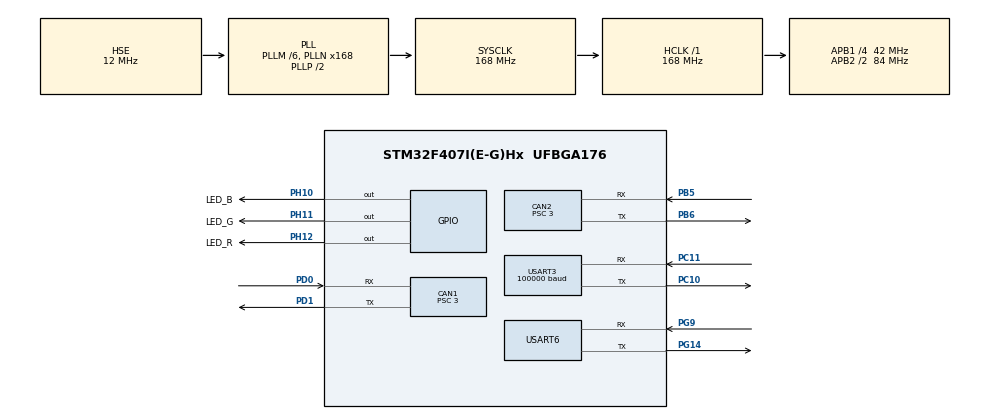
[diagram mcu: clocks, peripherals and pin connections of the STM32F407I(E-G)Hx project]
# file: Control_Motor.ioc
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CAN1.BS1=CAN_BS1_10TQ
CAN1.BS2=CAN_BS2_3TQ
CAN1.CalculateBaudRate=1000000
CAN1.CalculateTimeBit=1000
CAN1.CalculateTimeQuantum=71.42857142857143
CAN1.Prescaler=3
CAN2.BS1=CAN_BS1_10TQ
CAN2.BS2=CAN_BS2_3TQ
CAN2.CalculateBaudRate=1000000
CAN2.CalculateTimeBit=1000
CAN2.CalculateTimeQuantum=71.42857142857143
CAN2.Prescaler=3
Dma.Request0=USART3_RX
Dma.Request1=USART6_TX
Dma.USART3_RX.0.Direction=DMA_PERIPH_TO_MEMORY
Dma.USART3_RX.0.FIFOMode=DMA_FIFOMODE_DISABLE
Dma.USART3_RX.0.Instance=DMA1_Stream1
Dma.USART3_RX.0.MemDataAlignment=DMA_MDATAALIGN_BYTE
Dma.USART3_RX.0.MemInc=DMA_MINC_ENABLE
Dma.USART3_RX.0.Mode=DMA_CIRCULAR
Dma.USART3_RX.0.PeriphDataAlignment=DMA_PDATAALIGN_BYTE
Dma.USART3_RX.0.PeriphInc=DMA_PINC_DISABLE
Dma.USART3_RX.0.Priority=DMA_PRIORITY_VERY_HIGH
Dma.USART6_TX.1.Direction=DMA_MEMORY_TO_PERIPH
Dma.USART6_TX.1.FIFOMode=DMA_FIFOMODE_DISABLE
Dma.USART6_TX.1.Instance=DMA2_Stream6
Dma.USART6_TX.1.MemDataAlignment=DMA_MDATAALIGN_BYTE
Dma.USART6_TX.1.MemInc=DMA_MINC_ENABLE
Dma.USART6_TX.1.Mode=DMA_NORMAL
Dma.USART6_TX.1.PeriphDataAlignment=DMA_PDATAALIGN_BYTE
Dma.USART6_TX.1.PeriphInc=DMA_PINC_DISABLE
Dma.USART6_TX.1.Priority=DMA_PRIORITY_VERY_HIGH
FREERTOS.Tasks01=PID,0,128,pid_task,Default,NULL,Dynamic,NULL,NULL;yPlot,-3,128,yplot_task,Default,NULL,Dynamic,NULL,NULL
Mcu.Family=STM32F4
Mcu.Name=STM32F407I(E-G)Hx
Mcu.Package=UFBGA176
NVIC.CAN1_RX0_IRQn=true\:5\:0\:false\:false\:true\:true\:true\:true\:true
NVIC.CAN2_RX0_IRQn=true\:5\:0\:false\:false\:true\:true\:true\:true\:true
NVIC.DMA1_Stream1_IRQn=true\:5\:0\:false\:false\:true\:true\:false\:true\:true
NVIC.DMA2_Stream6_IRQn=true\:5\:0\:false\:false\:true\:true\:false\:true\:true
NVIC.PriorityGroup=NVIC_PRIORITYGROUP_4
NVIC.TIM1_UP_TIM10_IRQn=true\:15\:0\:false\:false\:true\:false\:false\:true\:true
NVIC.TimeBase=TIM1_UP_TIM10_IRQn
NVIC.TimeBaseIP=TIM1
NVIC.USART3_IRQn=true\:5\:0\:false\:false\:true\:true\:true\:true\:true
NVIC.USART6_IRQn=true\:5\:0\:false\:false\:true\:true\:true\:true\:true
PA13.Mode=Serial_Wire
PA13.Signal=SYS_JTMS-SWDIO
PA14.Mode=Serial_Wire
PA14.Signal=SYS_JTCK-SWCLK
PB5.Mode=CAN_Activate
PB5.Signal=CAN2_RX
PB6.Mode=CAN_Activate
PB6.Signal=CAN2_TX
PC10.GPIO_PuPd=GPIO_PULLUP
PC10.Mode=Asynchronous
PC10.Signal=USART3_TX
PC11.GPIO_PuPd=GPIO_PULLUP
PC11.Mode=Asynchronous
PC11.Signal=USART3_RX
PD0.Mode=CAN_Activate
PD0.Signal=CAN1_RX
PD1.Mode=CAN_Activate
PD1.Signal=CAN1_TX
PG14.GPIO_PuPd=GPIO_PULLUP
PG14.Mode=Asynchronous
PG14.Signal=USART6_TX
PG9.GPIO_PuPd=GPIO_PULLUP
PG9.Mode=Asynchronous
PG9.Signal=USART6_RX
PH0-OSC_IN.Mode=HSE-External-Oscillator
PH0-OSC_IN.Signal=RCC_OSC_IN
PH1-OSC_OUT.Mode=HSE-External-Oscillator
PH1-OSC_OUT.Signal=RCC_OSC_OUT
PH10.GPIO_Label=LED_B
PH10.GPIO_PuPd=GPIO_PULLUP
PH10.PinState=GPIO_PIN_SET
PH10.Signal=GPIO_Output
PH11.GPIO_Label=LED_G
PH11.GPIO_PuPd=GPIO_PULLUP
PH11.PinState=GPIO_PIN_SET
PH11.Signal=GPIO_Output
PH12.GPIO_Label=LED_R
PH12.GPIO_PuPd=GPIO_PULLUP
PH12.PinState=GPIO_PIN_SET
PH12.Signal=GPIO_Output
ProjectManager.HeapSize=0x200
ProjectManager.StackSize=0x400
ProjectManager.TargetToolchain=MDK-ARM V5.32
RCC.48MHZClocksFreq_Value=84000000
RCC.AHBFreq_Value=168000000
RCC.APB1CLKDivider=RCC_HCLK_DIV4
RCC.APB1Freq_Value=42000000
RCC.APB1TimFreq_Value=84000000
RCC.APB2CLKDivider=RCC_HCLK_DIV2
RCC.APB2Freq_Value=84000000
RCC.APB2TimFreq_Value=168000000
RCC.CortexFreq_Value=168000000
RCC.HCLKFreq_Value=168000000
RCC.HSE_VALUE=12000000
RCC.HSI_VALUE=16000000
RCC.LSE_VALUE=32768
RCC.PLLM=6
RCC.PLLN=168
RCC.PLLSourceVirtual=RCC_PLLSOURCE_HSE
RCC.SYSCLKFreq_VALUE=168000000
RCC.SYSCLKSource=RCC_SYSCLKSOURCE_PLLCLK
RCC.VCOOutputFreq_Value=336000000
USART3.BaudRate=100000
USART3.Parity=PARITY_EVEN
USART3.VirtualMode=VM_ASYNC
USART6.VirtualMode=VM_ASYNC
VP_FREERTOS_VS_CMSIS_V1.Mode=CMSIS_V1
VP_SYS_VS_tim1.Mode=TIM1
board=custom

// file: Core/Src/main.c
/* USER CODE BEGIN Header */
/**
  ******************************************************************************
  * @file           : main.c
  * @brief          : Main program body
  ******************************************************************************
  * @attention
  *
  * Copyright (c) 2024 STMicroelectronics.
  * All rights reserved.
  *
  * This software is licensed under terms that can be found in the LICENSE file
  * in the root directory of this software component.
  * If no LICENSE file comes with this software, it is provided AS-IS.
  *
  ******************************************************************************
  */
/* USER CODE END Header */
#include "main.h"
#include "cmsis_os.h"
#include "can.h"
#include "dma.h"
#include "usart.h"
#include "gpio.h"

/* USER CODE BEGIN Includes */
#include "bsp_can.h"
#include "CAN_receive.h"
#include "remote_control.h"
#include "bsp_usart.h"
#include "string.h"
#include <stdio.h>
#include <stdarg.h>
#include "pid.h"
/* USER CODE END Includes */

/* USER CODE BEGIN PV */
extern char usart_readbuff[30];//串口接收缓存数组
extern u8 usart_readok;//一帧数据处理标志

/* USER CODE END PV */

void SystemClock_Config(void);
void MX_FREERTOS_Init(void);

/* USER CODE BEGIN 0 */

const RC_ctrl_t *local_rc_ctrl;

void usart_printf(const char *fmt,...)
{
    static uint8_t tx_buf[256] = {0};
    static va_list ap;
    static uint16_t len;
    va_start(ap, fmt);

    //return length of string

    len = vsprintf((char *)tx_buf, fmt, ap);

    va_end(ap);

//    usart6_tx_dma_enable(tx_buf, len);
	HAL_UART_Transmit_DMA(&huart6, tx_buf, len);
}

/* USER CODE END 0 */

int main(void)
{

  /* MCU Configuration--------------------------------------------------------*/

  /* Reset of all peripherals, Initializes the Flash interface and the Systick. */
  HAL_Init();

  /* Configure the system clock */
  SystemClock_Config();

  /* Initialize all configured peripherals */
  MX_GPIO_Init();
  MX_DMA_Init();
  MX_CAN1_Init();
  MX_CAN2_Init();
  MX_USART3_UART_Init();
  MX_USART6_UART_Init();
  /* USER CODE BEGIN 2 */
    can_filter_init();
    remote_control_init();
    usart6_tx_dma_init();
    local_rc_ctrl = get_remote_control_point();

    __HAL_UART_ENABLE_IT(&huart3, UART_IT_RXNE);  //receive interrupt
    __HAL_UART_ENABLE_IT(&huart3, UART_IT_IDLE);  //idle interrupt
    __HAL_UART_ENABLE_IT(&huart6, UART_IT_RXNE);  //receive interrupt
    __HAL_UART_ENABLE_IT(&huart6, UART_IT_IDLE);  //idle interrupt

  /* USER CODE END 2 */

  /* Call init function for freertos objects (in cmsis_os2.c) */
  MX_FREERTOS_Init();

  /* Start scheduler */
  osKernelStart();

  /* We should never get here as control is now taken by the scheduler */

  /* Infinite loop */
  while (1)
  {

  }
}

void SystemClock_Config(void)
{
  RCC_OscInitTypeDef RCC_OscInitStruct = {0};
  RCC_ClkInitTypeDef RCC_ClkInitStruct = {0};

  /** Configure the main internal regulator output voltage
  */
  __HAL_RCC_PWR_CLK_ENABLE();
  __HAL_PWR_VOLTAGESCALING_CONFIG(PWR_REGULATOR_VOLTAGE_SCALE1);

  /** Initializes the RCC Oscillators according to the specified parameters
  * in the RCC_OscInitTypeDef structure.
  */
  RCC_OscInitStruct.OscillatorType = RCC_OSCILLATORTYPE_HSE;
  RCC_OscInitStruct.HSEState = RCC_HSE_ON;
  RCC_OscInitStruct.PLL.PLLState = RCC_PLL_ON;
  RCC_OscInitStruct.PLL.PLLSource = RCC_PLLSOURCE_HSE;
  RCC_OscInitStruct.PLL.PLLM = 6;
  RCC_OscInitStruct.PLL.PLLN = 168;
  RCC_OscInitStruct.PLL.PLLP = RCC_PLLP_DIV2;
  RCC_OscInitStruct.PLL.PLLQ = 4;
  if (HAL_RCC_OscConfig(&RCC_OscInitStruct) != HAL_OK)
  {
    Error_Handler();
  }

  /** Initializes the CPU, AHB and APB buses clocks
  */
  RCC_ClkInitStruct.ClockType = RCC_CLOCKTYPE_HCLK|RCC_CLOCKTYPE_SYSCLK
                              |RCC_CLOCKTYPE_PCLK1|RCC_CLOCKTYPE_PCLK2;
  RCC_ClkInitStruct.SYSCLKSource = RCC_SYSCLKSOURCE_PLLCLK;
  RCC_ClkInitStruct.AHBCLKDivider = RCC_SYSCLK_DIV1;
  RCC_ClkInitStruct.APB1CLKDivider = RCC_HCLK_DIV4;
  RCC_ClkInitStruct.APB2CLKDivider = RCC_HCLK_DIV2;

  if (HAL_RCC_ClockConfig(&RCC_ClkInitStruct, FLASH_LATENCY_5) != HAL_OK)
  {
    Error_Handler();
  }
}

void HAL_TIM_PeriodElapsedCallback(TIM_HandleTypeDef *htim)
{
  if (htim->Instance == TIM1) {
    HAL_IncTick();
  }
}

void Error_Handler(void)
{
  __disable_irq();
  while (1)
  {
  }
}

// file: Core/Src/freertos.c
/* USER CODE BEGIN Header */
/**
  ******************************************************************************
  * File Name          : freertos.c
  * Description        : Code for freertos applications
  ******************************************************************************
  * @attention
  *
  * Copyright (c) 2024 STMicroelectronics.
  * All rights reserved.
  *
  * This software is licensed under terms that can be found in the LICENSE file
  * in the root directory of this software component.
  * If no LICENSE file comes with this software, it is provided AS-IS.
  *
  ******************************************************************************
  */
/* USER CODE END Header */

#include "FreeRTOS.h"
#include "task.h"
#include "main.h"
#include "cmsis_os.h"

/* USER CODE BEGIN Includes */
#include "bsp_can.h"
#include "CAN_receive.h"
#include "remote_control.h"
#include "bsp_usart.h"
#include "string.h"
#include <stdio.h>
#include <stdarg.h>
#include "pid.h"
#include "oscilloscope.h"

/* USER CODE END Includes */

/* USER CODE BEGIN PD */
PID vec;
PID pos;
int ecd_vec = 0;
int ecd_pos = 0;
int target_vec = 200;
float target_pos = 0;//[0,8191]

fp32 cmd_P = 0;
fp32 cmd_I = 0;
fp32 cmd_D = 0;

/* USER CODE END PD */

osThreadId PIDHandle;
osThreadId yPlotHandle;

void pid_task(void const * argument);
void yplot_task(void const * argument);

void MX_FREERTOS_Init(void); /* (MISRA C 2004 rule 8.1) */

/* GetIdleTaskMemory prototype (linked to static allocation support) */
void vApplicationGetIdleTaskMemory( StaticTask_t **ppxIdleTaskTCBBuffer, StackType_t **ppxIdleTaskStackBuffer, uint32_t *pulIdleTaskStackSize );

/* USER CODE BEGIN GET_IDLE_TASK_MEMORY */
static StaticTask_t xIdleTaskTCBBuffer;
static StackType_t xIdleStack[configMINIMAL_STACK_SIZE];

void vApplicationGetIdleTaskMemory( StaticTask_t **ppxIdleTaskTCBBuffer, StackType_t **ppxIdleTaskStackBuffer, uint32_t *pulIdleTaskStackSize )
{
  *ppxIdleTaskTCBBuffer = &xIdleTaskTCBBuffer;
  *ppxIdleTaskStackBuffer = &xIdleStack[0];
  *pulIdleTaskStackSize = configMINIMAL_STACK_SIZE;
  /* place for user code */
}
/* USER CODE END GET_IDLE_TASK_MEMORY */

void MX_FREERTOS_Init(void) {

  /* Create the thread(s) */
  /* definition and creation of PID */
  osThreadDef(PID, pid_task, osPriorityNormal, 0, 128);
  PIDHandle = osThreadCreate(osThread(PID), NULL);

  /* definition and creation of yPlot */
  osThreadDef(yPlot, yplot_task, osPriorityIdle, 0, 128);
  yPlotHandle = osThreadCreate(osThread(yPlot), NULL);

}

void pid_task(void const * argument)
{
  /* USER CODE BEGIN pid_task */
  /* Infinite loop */
  for(;;)
  {
    // target_pos = (local_rc_ctrl->rc.ch[0] * 4095.5) / 660.0 + 4095.5;//[0,8191]-8192/2 ?  so float_pos?
	  target_pos = 4000;

	  initPID(&pos,300,5000); //482rpm-->Max_Speed
    setPIDParam(&pos,0.5,0,0);//The outer ring is a parameter, and not too large.Go from small to big and see what happens
    setPIDTarget(&pos,target_pos);//target_pos Units are the same as  ecd_pos  It's not the speed.
    ecd_pos = get_chassis_motor_measure_point(0)->ecd;
    updatePID(&pos,ecd_pos);//The resulting value is velocity, similar to taking a derivative

		initPID(&vec,15000,5000);//vec pid output current,input vec??
		setPIDTarget(&vec,pos.output);//init is first.brcause init = 0
		setPIDParam(&vec,5,0.5,0);
		ecd_vec = get_chassis_motor_measure_point(0)->speed_rpm;
		updatePID(&vec,ecd_vec);

    CAN_cmd_chassis(vec.output,0,0,0);

    HAL_Delay(2);

    osDelay(1);
  }
  /* USER CODE END pid_task */
}

void yplot_task(void const * argument)
{
  /* USER CODE BEGIN yplot_task */
  /* Infinite loop */
  for(;;)
  {
    get_cmd();
	  send_wave();
    osDelay(1);
  }
  /* USER CODE END yplot_task */
}
